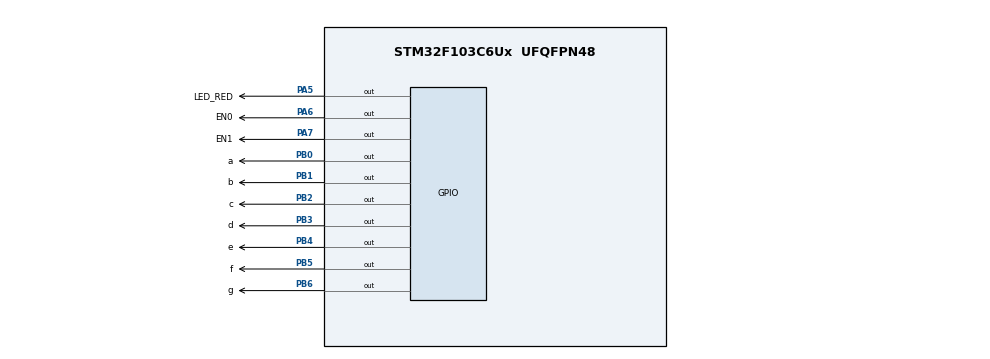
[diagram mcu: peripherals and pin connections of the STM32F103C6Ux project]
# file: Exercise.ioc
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Mcu.Family=STM32F1
Mcu.Name=STM32F103C6Ux
Mcu.Package=UFQFPN48
NVIC.PriorityGroup=NVIC_PRIORITYGROUP_4
NVIC.TIM2_IRQn=true\:0\:0\:false\:false\:true\:true\:true
PA5.GPIO_Label=LED_RED
PA5.Signal=GPIO_Output
PA6.GPIO_Label=EN0
PA6.Signal=GPIO_Output
PA7.GPIO_Label=EN1
PA7.Signal=GPIO_Output
PB0.GPIO_Label=a
PB0.Signal=GPIO_Output
PB1.GPIO_Label=b
PB1.Signal=GPIO_Output
PB2.GPIO_Label=c
PB2.Signal=GPIO_Output
PB3.GPIO_Label=d
PB3.Signal=GPIO_Output
PB4.GPIO_Label=e
PB4.Signal=GPIO_Output
PB5.GPIO_Label=f
PB5.Signal=GPIO_Output
PB6.GPIO_Label=g
PB6.Signal=GPIO_Output
ProjectManager.HeapSize=0x200
ProjectManager.StackSize=0x400
ProjectManager.TargetToolchain=STM32CubeIDE
RCC.APB1Freq_Value=8000000
RCC.APB2Freq_Value=8000000
TIM2.Period=9
TIM2.Prescaler=7999
VP_SYS_VS_ND.Mode=No_Debug
VP_TIM2_VS_ClockSourceINT.Mode=Internal
board=custom

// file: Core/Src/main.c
/* USER CODE BEGIN Header */
/**
  ******************************************************************************
  * @file           : main.c
  * @brief          : Main program body
  ******************************************************************************
  * @attention
  *
  * <h2><center>&copy; Copyright (c) 2024 STMicroelectronics.
  * All rights reserved.</center></h2>
  *
  * This software component is licensed by ST under BSD 3-Clause license,
  * the "License"; You may not use this file except in compliance with the
  * License. You may obtain a copy of the License at:
  *                        opensource.org/licenses/BSD-3-Clause
  *
  ******************************************************************************
  */
/* USER CODE END Header */
#include "main.h"

/* USER CODE BEGIN Includes */
#include "software_timer.h"
#include "Component.c"
#include "update7SEG.h"
/* USER CODE END Includes */

TIM_HandleTypeDef htim2;

void SystemClock_Config(void);
static void MX_GPIO_Init(void);
static void MX_TIM2_Init(void);

/* USER CODE BEGIN 0 */
void update7SEG ( int index ){
	switch ( index ){
	case 0:
		HAL_GPIO_WritePin(EN0_GPIO_Port, EN0_Pin, 0);
		HAL_GPIO_WritePin(EN1_GPIO_Port, EN1_Pin, 1);
		HAL_GPIO_WritePin(EN1_GPIO_Port, EN2_Pin, 1);
		HAL_GPIO_WritePin(EN1_GPIO_Port, EN3_Pin, 1);
		break;
	case 1:
		HAL_GPIO_WritePin(EN0_GPIO_Port, EN0_Pin, 1);
		HAL_GPIO_WritePin(EN1_GPIO_Port, EN1_Pin, 0);
		HAL_GPIO_WritePin(EN1_GPIO_Port, EN2_Pin, 1);
		HAL_GPIO_WritePin(EN1_GPIO_Port, EN3_Pin, 1);
		break;
	case 2:
		HAL_GPIO_WritePin(EN0_GPIO_Port, EN0_Pin, 1);
		HAL_GPIO_WritePin(EN1_GPIO_Port, EN1_Pin, 1);
		HAL_GPIO_WritePin(EN1_GPIO_Port, EN2_Pin, 0);
		HAL_GPIO_WritePin(EN1_GPIO_Port, EN3_Pin, 1);
		break;
	case 3:
		HAL_GPIO_WritePin(EN0_GPIO_Port, EN0_Pin, 1);
		HAL_GPIO_WritePin(EN1_GPIO_Port, EN1_Pin, 1);
		HAL_GPIO_WritePin(EN1_GPIO_Port, EN2_Pin, 1);
		HAL_GPIO_WritePin(EN1_GPIO_Port, EN3_Pin, 0);
		break;
	default :
		break;
	}
	display7SEG(led_buffer[index]);
}

/* USER CODE END 0 */

int main(void)
{

  /* MCU Configuration--------------------------------------------------------*/

  /* Reset of all peripherals, Initializes the Flash interface and the Systick. */
  HAL_Init();

  /* Configure the system clock */
  SystemClock_Config();

  /* Initialize all configured peripherals */
  MX_GPIO_Init();
  MX_TIM2_Init();
  /* USER CODE BEGIN 2 */
  HAL_TIM_Base_Start_IT(&htim2);
  /* USER CODE END 2 */

  /* Infinite loop */
  /* USER CODE BEGIN WHILE */
  setTimer1(100);
  int counter = 0, bit = 0;
  while (1)
  {
	  if(timer1_flag == 1){
		  setTimer1(100);
		  if(counter == 0){
			  if(bit == 0){
				  HAL_GPIO_WritePin(DOT_GPIO_Port, DOT_Pin, 0);
				  bit = 1;
			  }
			  else{
				  HAL_GPIO_WritePin(DOT_GPIO_Port, DOT_Pin, 1);
				  bit = 0;
			  }
		  }
		  if(counter++ == 1){
			  counter = 0;
		  }
		  update7SEG(index_led++);
		  if(index_led == 4){
			  index_led = 0;
		  }
	  }
    /* USER CODE END WHILE */

  }
}

void SystemClock_Config(void)
{
  RCC_OscInitTypeDef RCC_OscInitStruct = {0};
  RCC_ClkInitTypeDef RCC_ClkInitStruct = {0};

  /** Initializes the RCC Oscillators according to the specified parameters
  * in the RCC_OscInitTypeDef structure.
  */
  RCC_OscInitStruct.OscillatorType = RCC_OSCILLATORTYPE_HSI;
  RCC_OscInitStruct.HSIState = RCC_HSI_ON;
  RCC_OscInitStruct.HSICalibrationValue = RCC_HSICALIBRATION_DEFAULT;
  RCC_OscInitStruct.PLL.PLLState = RCC_PLL_NONE;
  if (HAL_RCC_OscConfig(&RCC_OscInitStruct) != HAL_OK)
  {
    Error_Handler();
  }
  /** Initializes the CPU, AHB and APB buses clocks
  */
  RCC_ClkInitStruct.ClockType = RCC_CLOCKTYPE_HCLK|RCC_CLOCKTYPE_SYSCLK
                              |RCC_CLOCKTYPE_PCLK1|RCC_CLOCKTYPE_PCLK2;
  RCC_ClkInitStruct.SYSCLKSource = RCC_SYSCLKSOURCE_HSI;
  RCC_ClkInitStruct.AHBCLKDivider = RCC_SYSCLK_DIV1;
  RCC_ClkInitStruct.APB1CLKDivider = RCC_HCLK_DIV1;
  RCC_ClkInitStruct.APB2CLKDivider = RCC_HCLK_DIV1;

  if (HAL_RCC_ClockConfig(&RCC_ClkInitStruct, FLASH_LATENCY_0) != HAL_OK)
  {
    Error_Handler();
  }
}

static void MX_TIM2_Init(void)
{

  TIM_ClockConfigTypeDef sClockSourceConfig = {0};
  TIM_MasterConfigTypeDef sMasterConfig = {0};

  htim2.Instance = TIM2;
  htim2.Init.Prescaler = 7999;
  htim2.Init.CounterMode = TIM_COUNTERMODE_UP;
  htim2.Init.Period = 9;
  htim2.Init.ClockDivision = TIM_CLOCKDIVISION_DIV1;
  htim2.Init.AutoReloadPreload = TIM_AUTORELOAD_PRELOAD_DISABLE;
  if (HAL_TIM_Base_Init(&htim2) != HAL_OK)
  {
    Error_Handler();
  }
  sClockSourceConfig.ClockSource = TIM_CLOCKSOURCE_INTERNAL;
  if (HAL_TIM_ConfigClockSource(&htim2, &sClockSourceConfig) != HAL_OK)
  {
    Error_Handler();
  }
  sMasterConfig.MasterOutputTrigger = TIM_TRGO_RESET;
  sMasterConfig.MasterSlaveMode = TIM_MASTERSLAVEMODE_DISABLE;
  if (HAL_TIMEx_MasterConfigSynchronization(&htim2, &sMasterConfig) != HAL_OK)
  {
    Error_Handler();
  }

}

static void MX_GPIO_Init(void)
{
  GPIO_InitTypeDef GPIO_InitStruct = {0};

  /* GPIO Ports Clock Enable */
  __HAL_RCC_GPIOA_CLK_ENABLE();
  __HAL_RCC_GPIOB_CLK_ENABLE();

  /*Configure GPIO pin Output Level */
  HAL_GPIO_WritePin(GPIOA, DOT_Pin|LED_RED_Pin|EN0_Pin|EN1_Pin
                          |EN2_Pin|EN3_Pin, GPIO_PIN_RESET);

  /*Configure GPIO pin Output Level */
  HAL_GPIO_WritePin(GPIOB, a_Pin|b_Pin|c_Pin|d_Pin
                          |e_Pin|f_Pin|g_Pin, GPIO_PIN_RESET);

  /*Configure GPIO pins : DOT_Pin LED_RED_Pin EN0_Pin EN1_Pin
                           EN2_Pin EN3_Pin */
  GPIO_InitStruct.Pin = DOT_Pin|LED_RED_Pin|EN0_Pin|EN1_Pin
                          |EN2_Pin|EN3_Pin;
  GPIO_InitStruct.Mode = GPIO_MODE_OUTPUT_PP;
  GPIO_InitStruct.Pull = GPIO_NOPULL;
  GPIO_InitStruct.Speed = GPIO_SPEED_FREQ_LOW;
  HAL_GPIO_Init(GPIOA, &GPIO_InitStruct);

  /*Configure GPIO pins : a_Pin b_Pin c_Pin d_Pin
                           e_Pin f_Pin g_Pin */
  GPIO_InitStruct.Pin = a_Pin|b_Pin|c_Pin|d_Pin
                          |e_Pin|f_Pin|g_Pin;
  GPIO_InitStruct.Mode = GPIO_MODE_OUTPUT_PP;
  GPIO_InitStruct.Pull = GPIO_NOPULL;
  GPIO_InitStruct.Speed = GPIO_SPEED_FREQ_LOW;
  HAL_GPIO_Init(GPIOB, &GPIO_InitStruct);

}

/* USER CODE BEGIN 4 */
int counter = 200;
void HAL_TIM_PeriodElapsedCallback ( TIM_HandleTypeDef * htim )
{
	timerRun();
}
/* USER CODE END 4 */

void Error_Handler(void)
{
  __disable_irq();
  while (1)
  {
  }
}

/************************ (C) COPYRIGHT STMicroelectronics *****END OF FILE****/
